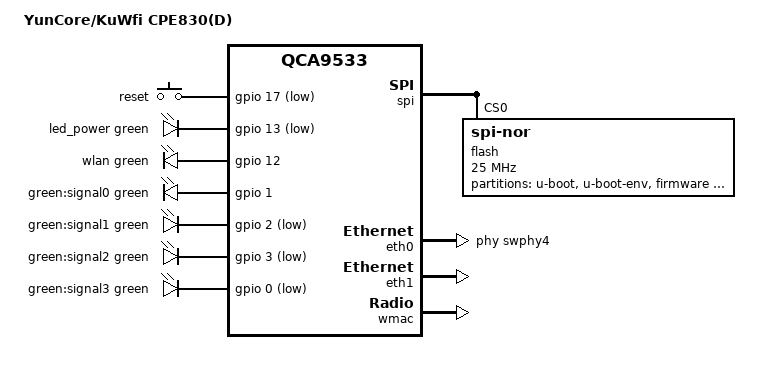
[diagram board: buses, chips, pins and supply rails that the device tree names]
// SPDX-License-Identifier: GPL-2.0-or-later OR MIT

#include "qca953x.dtsi"

#include <dt-bindings/gpio/gpio.h>
#include <dt-bindings/input/input.h>
#include <dt-bindings/leds/common.h>

/ {
	compatible = "yuncore,cpe830", "qca,qca9533";
	model = "YunCore/KuWfi CPE830(D)";

	keys {
		compatible = "gpio-keys";

		reset {
			label = "reset";
			linux,code = <KEY_RESTART>;
			gpios = <&gpio 17 GPIO_ACTIVE_LOW>;
		};
	};

	aliases {
		label-mac-device = &wmac;
		led-boot = &led_power;
		led-failsafe = &led_power;
		led-running = &led_power;
		led-upgrade = &led_power;
	};

	leds {
		compatible = "gpio-leds";

		led_power: power {
			function = LED_FUNCTION_POWER;
			color = <LED_COLOR_ID_GREEN>;
			gpios = <&gpio 13 GPIO_ACTIVE_LOW>;
			default-state = "on";
		};

		wlan {
			function = LED_FUNCTION_WLAN;
			color = <LED_COLOR_ID_GREEN>;
			gpios = <&gpio 12 GPIO_ACTIVE_HIGH>;
			linux,default-trigger = "phy0tpt";
		};

		link1 {
			label = "green:signal0";
			color = <LED_COLOR_ID_GREEN>;
			gpios = <&gpio 1 GPIO_ACTIVE_HIGH>;
		};

		link2 {
			label = "green:signal1";
			color = <LED_COLOR_ID_GREEN>;
			gpios = <&gpio 2 GPIO_ACTIVE_LOW>;
		};

		link3 {
			label = "green:signal2";
			color = <LED_COLOR_ID_GREEN>;
			gpios = <&gpio 3 GPIO_ACTIVE_LOW>;
		};

		link4 {
			label = "green:signal3";
			color = <LED_COLOR_ID_GREEN>;
			gpios = <&gpio 0 GPIO_ACTIVE_LOW>;
		};
	};
};

&spi {
	status = "okay";

	flash@0 {
		compatible = "jedec,spi-nor";
		reg = <0>;
		spi-max-frequency = <25000000>;

		partitions {
			compatible = "fixed-partitions";
			#address-cells = <1>;
			#size-cells = <1>;

			partition@0 {
				label = "u-boot";
				reg = <0x000000 0x040000>;
				read-only;
			};

			partition@40000 {
				label = "u-boot-env";
				reg = <0x040000 0x010000>;
				read-only;
			};

			partition@50000 {
				compatible = "denx,uimage";
				label = "firmware";
				reg = <0x050000 0xfa0000>;
			};

			partition@ff0000 {
				label = "art";
				reg = <0xff0000 0x010000>;
				read-only;

				nvmem-layout {
					compatible = "fixed-layout";
					#address-cells = <1>;
					#size-cells = <1>;

					macaddr_art_0: macaddr@0 {
						reg = <0x0 0x6>;
					};

					macaddr_art_6: macaddr@6 {
						reg = <0x6 0x6>;
					};

					cal_art_1000: calibration@1000 {
						reg = <0x1000 0x440>;
					};

					macaddr_art_wmac: macaddr@1002 {
						reg = <0x1002 0x6>;
					};
				};
			};
		};
	};
};

&eth0 {
	status = "okay";
	phy-handle = <&swphy4>;
	nvmem-cells = <&macaddr_art_0>;
	nvmem-cell-names = "mac-address";
};

&eth1 {
	status = "okay";
	nvmem-cells = <&macaddr_art_6>;
	nvmem-cell-names = "mac-address";
};

&wmac {
	status = "okay";
	nvmem-cells = <&cal_art_1000>;
	nvmem-cell-names = "calibration";
};
